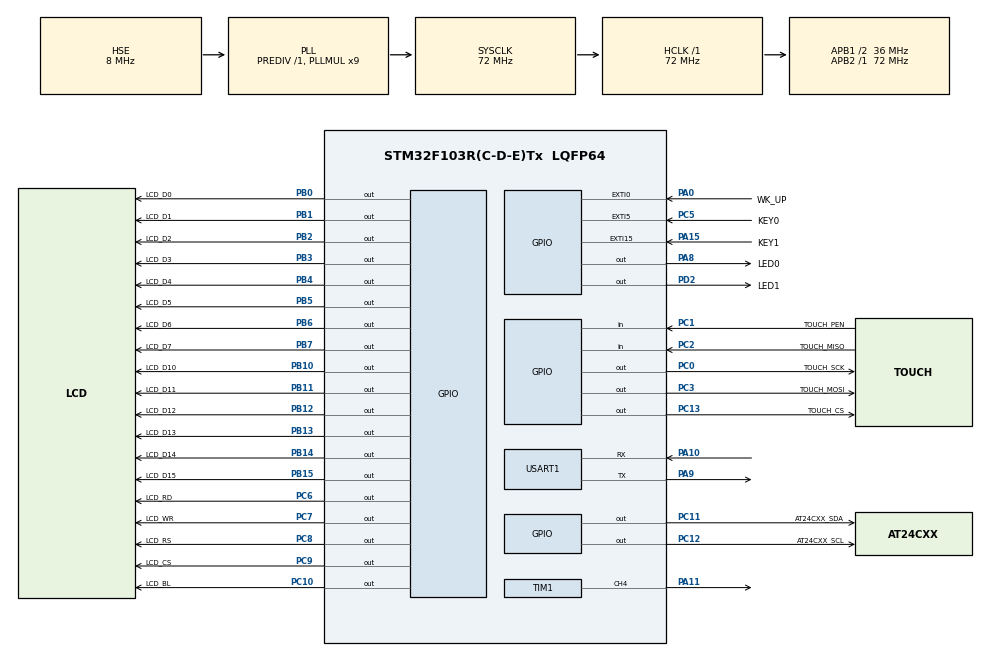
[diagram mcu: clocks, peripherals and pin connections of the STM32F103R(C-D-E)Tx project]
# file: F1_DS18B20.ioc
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Mcu.Family=STM32F1
Mcu.Name=STM32F103R(C-D-E)Tx
Mcu.Package=LQFP64
NVIC.EXTI0_IRQn=true\:2\:0\:true\:false\:true\:true\:true\:true
NVIC.EXTI15_10_IRQn=true\:2\:0\:true\:false\:true\:true\:true\:true
NVIC.EXTI9_5_IRQn=true\:2\:0\:true\:false\:true\:true\:true\:true
NVIC.PriorityGroup=NVIC_PRIORITYGROUP_4
NVIC.TIM2_IRQn=true\:0\:0\:false\:false\:true\:true\:true\:true
NVIC.TIM3_IRQn=true\:0\:0\:false\:false\:true\:true\:true\:true
PA0-WKUP.GPIO_Label=WK_UP
PA0-WKUP.GPIO_PuPd=GPIO_PULLDOWN
PA0-WKUP.Signal=GPXTI0
PA10.Mode=Asynchronous
PA10.Signal=USART1_RX
PA11.Signal=S_TIM1_CH4
PA13.Mode=Serial_Wire
PA13.Signal=SYS_JTMS-SWDIO
PA14.Mode=Serial_Wire
PA14.Signal=SYS_JTCK-SWCLK
PA15.GPIO_Label=KEY1
PA15.GPIO_ModeDefaultEXTI=GPIO_MODE_IT_FALLING
PA15.GPIO_PuPd=GPIO_PULLUP
PA15.Signal=GPXTI15
PA8.GPIO_Label=LED0
PA8.GPIO_ModeDefaultOutputPP=GPIO_MODE_OUTPUT_PP
PA8.GPIO_PuPd=GPIO_PULLUP
PA8.GPIO_Speed=GPIO_SPEED_FREQ_HIGH
PA8.PinState=GPIO_PIN_SET
PA8.Signal=GPIO_Output
PA9.Mode=Asynchronous
PA9.Signal=USART1_TX
PB0.GPIO_Label=LCD_D0
PB0.GPIO_ModeDefaultOutputPP=GPIO_MODE_OUTPUT_PP
PB0.GPIO_PuPd=GPIO_PULLUP
PB0.GPIO_Speed=GPIO_SPEED_FREQ_HIGH
PB0.Signal=GPIO_Output
PB1.GPIO_Label=LCD_D1
PB1.GPIO_ModeDefaultOutputPP=GPIO_MODE_OUTPUT_PP
PB1.GPIO_PuPd=GPIO_PULLUP
PB1.GPIO_Speed=GPIO_SPEED_FREQ_HIGH
PB1.Signal=GPIO_Output
PB10.GPIO_Label=LCD_D10
PB10.GPIO_ModeDefaultOutputPP=GPIO_MODE_OUTPUT_PP
PB10.GPIO_PuPd=GPIO_PULLUP
PB10.GPIO_Speed=GPIO_SPEED_FREQ_HIGH
PB10.Signal=GPIO_Output
PB11.GPIO_Label=LCD_D11
PB11.GPIO_ModeDefaultOutputPP=GPIO_MODE_OUTPUT_PP
PB11.GPIO_PuPd=GPIO_PULLUP
PB11.GPIO_Speed=GPIO_SPEED_FREQ_HIGH
PB11.Signal=GPIO_Output
PB12.GPIO_Label=LCD_D12
PB12.GPIO_ModeDefaultOutputPP=GPIO_MODE_OUTPUT_PP
PB12.GPIO_PuPd=GPIO_PULLUP
PB12.GPIO_Speed=GPIO_SPEED_FREQ_HIGH
PB12.Signal=GPIO_Output
PB13.GPIO_Label=LCD_D13
PB13.GPIO_ModeDefaultOutputPP=GPIO_MODE_OUTPUT_PP
PB13.GPIO_PuPd=GPIO_PULLUP
PB13.GPIO_Speed=GPIO_SPEED_FREQ_HIGH
PB13.Signal=GPIO_Output
PB14.GPIO_Label=LCD_D14
PB14.GPIO_ModeDefaultOutputPP=GPIO_MODE_OUTPUT_PP
PB14.GPIO_PuPd=GPIO_PULLUP
PB14.GPIO_Speed=GPIO_SPEED_FREQ_HIGH
PB14.Signal=GPIO_Output
PB15.GPIO_Label=LCD_D15
PB15.GPIO_ModeDefaultOutputPP=GPIO_MODE_OUTPUT_PP
PB15.GPIO_PuPd=GPIO_PULLUP
PB15.GPIO_Speed=GPIO_SPEED_FREQ_HIGH
PB15.Signal=GPIO_Output
PB2.GPIO_Label=LCD_D2
PB2.GPIO_ModeDefaultOutputPP=GPIO_MODE_OUTPUT_PP
PB2.GPIO_PuPd=GPIO_PULLUP
PB2.GPIO_Speed=GPIO_SPEED_FREQ_HIGH
PB2.Signal=GPIO_Output
PB3.GPIO_Label=LCD_D3
PB3.GPIO_ModeDefaultOutputPP=GPIO_MODE_OUTPUT_PP
PB3.GPIO_PuPd=GPIO_PULLUP
PB3.GPIO_Speed=GPIO_SPEED_FREQ_HIGH
PB3.Signal=GPIO_Output
PB4.GPIO_Label=LCD_D4
PB4.GPIO_ModeDefaultOutputPP=GPIO_MODE_OUTPUT_PP
PB4.GPIO_PuPd=GPIO_PULLUP
PB4.GPIO_Speed=GPIO_SPEED_FREQ_HIGH
PB4.Signal=GPIO_Output
PB5.GPIO_Label=LCD_D5
PB5.GPIO_ModeDefaultOutputPP=GPIO_MODE_OUTPUT_PP
PB5.GPIO_PuPd=GPIO_PULLUP
PB5.GPIO_Speed=GPIO_SPEED_FREQ_HIGH
PB5.Signal=GPIO_Output
PB6.GPIO_Label=LCD_D6
PB6.GPIO_ModeDefaultOutputPP=GPIO_MODE_OUTPUT_PP
PB6.GPIO_PuPd=GPIO_PULLUP
PB6.GPIO_Speed=GPIO_SPEED_FREQ_HIGH
PB6.Signal=GPIO_Output
PB7.GPIO_Label=LCD_D7
PB7.GPIO_ModeDefaultOutputPP=GPIO_MODE_OUTPUT_PP
PB7.GPIO_PuPd=GPIO_PULLUP
PB7.GPIO_Speed=GPIO_SPEED_FREQ_HIGH
PB7.Signal=GPIO_Output
PC0.GPIO_Label=TOUCH_SCK
PC0.GPIO_PuPd=GPIO_PULLUP
PC0.GPIO_Speed=GPIO_SPEED_FREQ_HIGH
PC0.PinState=GPIO_PIN_SET
PC0.Signal=GPIO_Output
PC1.GPIO_Label=TOUCH_PEN
PC1.GPIO_PuPd=GPIO_PULLUP
PC1.Signal=GPIO_Input
PC10.GPIO_Label=LCD_BL
PC10.GPIO_ModeDefaultOutputPP=GPIO_MODE_OUTPUT_PP
PC10.GPIO_PuPd=GPIO_PULLUP
PC10.GPIO_Speed=GPIO_SPEED_FREQ_HIGH
PC10.Signal=GPIO_Output
PC11.GPIO_Label=AT24CXX_SDA
PC11.Signal=GPIO_Output
PC12.GPIO_Label=AT24CXX_SCL
PC12.Signal=GPIO_Output
PC13-TAMPER-RTC.GPIO_Label=TOUCH_CS
PC13-TAMPER-RTC.GPIO_PuPd=GPIO_PULLDOWN
PC13-TAMPER-RTC.GPIO_Speed=GPIO_SPEED_FREQ_HIGH
PC13-TAMPER-RTC.PinState=GPIO_PIN_SET
PC13-TAMPER-RTC.Signal=GPIO_Output
PC14-OSC32_IN.Mode=LSE-External-Oscillator
PC14-OSC32_IN.Signal=RCC_OSC32_IN
PC15-OSC32_OUT.Mode=LSE-External-Oscillator
PC15-OSC32_OUT.Signal=RCC_OSC32_OUT
PC2.GPIO_Label=TOUCH_MISO
PC2.GPIO_PuPd=GPIO_PULLUP
PC2.Signal=GPIO_Input
PC3.GPIO_Label=TOUCH_MOSI
PC3.GPIO_PuPd=GPIO_PULLUP
PC3.GPIO_Speed=GPIO_SPEED_FREQ_HIGH
PC3.PinState=GPIO_PIN_SET
PC3.Signal=GPIO_Output
PC5.GPIO_Label=KEY0
PC5.GPIO_ModeDefaultEXTI=GPIO_MODE_IT_FALLING
PC5.GPIO_PuPd=GPIO_PULLUP
PC5.Signal=GPXTI5
PC6.GPIO_Label=LCD_RD
PC6.GPIO_ModeDefaultOutputPP=GPIO_MODE_OUTPUT_PP
PC6.GPIO_PuPd=GPIO_PULLUP
PC6.GPIO_Speed=GPIO_SPEED_FREQ_HIGH
PC6.Signal=GPIO_Output
PC7.GPIO_Label=LCD_WR
PC7.GPIO_ModeDefaultOutputPP=GPIO_MODE_OUTPUT_PP
PC7.GPIO_PuPd=GPIO_PULLUP
PC7.GPIO_Speed=GPIO_SPEED_FREQ_HIGH
PC7.Signal=GPIO_Output
PC8.GPIO_Label=LCD_RS
PC8.GPIO_ModeDefaultOutputPP=GPIO_MODE_OUTPUT_PP
PC8.GPIO_PuPd=GPIO_PULLUP
PC8.GPIO_Speed=GPIO_SPEED_FREQ_HIGH
PC8.Signal=GPIO_Output
PC9.GPIO_Label=LCD_CS
PC9.GPIO_ModeDefaultOutputPP=GPIO_MODE_OUTPUT_PP
PC9.GPIO_PuPd=GPIO_PULLUP
PC9.GPIO_Speed=GPIO_SPEED_FREQ_HIGH
PC9.Signal=GPIO_Output
PD0-OSC_IN.Mode=HSE-External-Oscillator
PD0-OSC_IN.Signal=RCC_OSC_IN
PD1-OSC_OUT.Mode=HSE-External-Oscillator
PD1-OSC_OUT.Signal=RCC_OSC_OUT
PD2.GPIO_Label=LED1
PD2.GPIO_ModeDefaultOutputPP=GPIO_MODE_OUTPUT_PP
PD2.GPIO_PuPd=GPIO_PULLUP
PD2.GPIO_Speed=GPIO_SPEED_FREQ_HIGH
PD2.PinState=GPIO_PIN_SET
PD2.Signal=GPIO_Output
ProjectManager.HeapSize=0x200
ProjectManager.StackSize=0x400
ProjectManager.TargetToolchain=MDK-ARM V5.32
RCC.AHBFreq_Value=72000000
RCC.APB1CLKDivider=RCC_HCLK_DIV2
RCC.APB1Freq_Value=36000000
RCC.APB1TimFreq_Value=72000000
RCC.APB2Freq_Value=72000000
RCC.APB2TimFreq_Value=72000000
RCC.HCLKFreq_Value=72000000
RCC.PLLMUL=RCC_PLL_MUL9
RCC.PLLSourceVirtual=RCC_PLLSOURCE_HSE
RCC.SYSCLKFreq_VALUE=72000000
RCC.SYSCLKSource=RCC_SYSCLKSOURCE_PLLCLK
RCC.USBFreq_Value=72000000
SH.S_TIM1_CH4.0=TIM1_CH4,PWM Generation4 CH4
TIM1.AutoReloadPreload=TIM_AUTORELOAD_PRELOAD_ENABLE
TIM1.Channel-PWM\ Generation4\ CH4=TIM_CHANNEL_4
TIM1.Period=2000-1
TIM1.Prescaler=72-1
TIM1.Pulse-PWM\ Generation4\ CH4=1000
TIM2.AutoReloadPreload=TIM_AUTORELOAD_PRELOAD_ENABLE
TIM2.Period=2000-1
TIM2.Prescaler=72-1
TIM3.AutoReloadPreload=TIM_AUTORELOAD_PRELOAD_ENABLE
TIM3.Prescaler=72-1
USART1.VirtualMode=VM_ASYNC
VP_TIM1_VS_ClockSourceINT.Mode=Internal
VP_TIM2_VS_ClockSourceINT.Mode=Internal
VP_TIM3_VS_ClockSourceINT.Mode=Internal
board=custom

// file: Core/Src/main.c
/* USER CODE BEGIN Header */
/**
  ******************************************************************************
  * @file           : main.c
  * @brief          : Main program body
  ******************************************************************************
  * @attention
  *
  * <h2><center>&copy; Copyright (c) 2021 STMicroelectronics.
  * All rights reserved.</center></h2>
  *
  * This software component is licensed by ST under BSD 3-Clause license,
  * the "License"; You may not use this file except in compliance with the
  * License. You may obtain a copy of the License at:
  *                        opensource.org/licenses/BSD-3-Clause
  *
  ******************************************************************************
  */
/* USER CODE END Header */
#include "main.h"
#include "tim.h"
#include "usart.h"
#include "gpio.h"

/* USER CODE BEGIN Includes */
#include "base.h"
#include "lcd.h"
#include "24cxx.h"
#include "touch.h"
#include "ds18b20.h"
#include "stdio.h"
#include "pid.h"
/* USER CODE END Includes */

/* USER CODE BEGIN PTD */
//重定义fputc函数
int fputc(int ch, FILE *f)
{
	while((USART1->SR&0X40)==0);//循环发送,直到发送完毕
    USART1->DR = (u8) ch;
	return ch;
}

#define xStart 30
#define yStart 230
/* USER CODE END PTD */

void SystemClock_Config(void);
/* USER CODE BEGIN PFP */
//清空屏幕并在右上角显??"RST"

/* USER CODE END PFP */

/* USER CODE BEGIN 0 */

double PIDOut, TempSetpoint;
short temperature;
u16 x=0,y=0;	//x是横坐标，描绘曲线，y为纵坐标，根据温度变化
u16 count=0;//计数值
char msg[100];
int ourPWM=0;
/* USER CODE END 0 */

int main(void)
{

  /* MCU Configuration--------------------------------------------------------*/

  /* Reset of all peripherals, Initializes the Flash interface and the Systick. */
  HAL_Init();

  /* Configure the system clock */
  SystemClock_Config();

  /* Initialize all configured peripherals */
  MX_GPIO_Init();
  MX_TIM1_Init();
  MX_USART1_UART_Init();
  MX_TIM2_Init();
  MX_TIM3_Init();
  /* USER CODE BEGIN 2 */
  delay_init(72);
  LCD_Init();
  LCD_Clear(WHITE);

  HAL_TIM_Base_Start_IT(&htim2);
	HAL_TIM_Base_Start_IT(&htim3);
  HAL_TIM_PWM_Start(&htim1,TIM_CHANNEL_4);

  TempSetpoint = 30.0;

  char buf[128];
  POINT_COLOR=BLACK;
  LCD_ShowString(30,250,200,16,16,"KEY0:Set Temper +0.1");
  LCD_ShowString(30,280,200,16,16,"KEY1:Set Temper -0.1");
  POINT_COLOR=RED;

	//没有DS18B20测试时注释
  while(DS18B20_Init())	//DS18B20初始化
  {
    LCD_ShowString(30,50,200,16,16,"DS18B20 ERROR");
  }
  LCD_ShowString(30,50,200,16,16,"						"); //初始化完成，遮盖ERROR

  /* USER CODE END 2 */

  /* Infinite loop */
  /* USER CODE BEGIN WHILE */
  while (1)
  {

	  POINT_COLOR=RED;
	//temperature=DS18B20_Get_Temp();
//		temperature=count;		//测试用

	ourPWM=(int)Limiting_amplitude(PID_Calculation(temperature/10,TempSetpoint));
//	__HAL_TIM_SET_COMPARE(&htim1,TIM_CHANNEL_4,Limiting_amplitude(PID_Calculation(temperature,TempSetpoint)));//调节pwm占空比和限制pid和pid运算
	__HAL_TIM_SET_COMPARE(&htim1,TIM_CHANNEL_4,ourPWM);//调节pwm占空比和限制pid和pid运算
	if(temperature<0)
	{
		LCD_ShowString(90,70,200,16,16,"-"); //显示负号
		temperature-=temperature; //转为正数
	}
	else
	{
		LCD_ShowString(90,70,200,16,16," "); //遮盖负号
	}

	LCD_ShowString(20,70,200,16,16,"Temper:");
	LCD_ShowString(20,90,200,16,16,"Set Temper:");

	sprintf(buf,"%3d",(int)temperature/10);
	LCD_ShowString(110,70,200,16,16,buf);	//显示整数

	LCD_ShowString(145,70,200,16,16,".");	//显示小数点
	sprintf(buf,"%1d",(int)(temperature-(temperature/10)*10));
	LCD_ShowString(155,70,200,16,16,buf);	//显示小数

	sprintf(buf,"%.1f",TempSetpoint);
	LCD_ShowString(130,90,200,16,16,buf);	//显示小数

	sprintf(buf,"%.1d",ourPWM);
	LCD_ShowString(130,50,200,16,16,buf);	//显示小数

	/************************曲线绘制***********************/

	LCD_DrawRectangle(xStart-1,yStart-100-1,xStart+180+1,yStart+1);//绘制矩形

	if(count==60)	{count=0;LCD_Fill(xStart,yStart-100,xStart+180,yStart,WHITE);}//局部清屏
			else{
				POINT_COLOR=BLACK;
				LCD_DrawLine(xStart+count*3,(yStart-(int)temperature/10),xStart+(count+1)*3,(yStart-(int)temperature/10));
			}
			count++;
    /* USER CODE END WHILE */

  }
}

void SystemClock_Config(void)
{
  RCC_OscInitTypeDef RCC_OscInitStruct = {0};
  RCC_ClkInitTypeDef RCC_ClkInitStruct = {0};

  /** Initializes the RCC Oscillators according to the specified parameters
  * in the RCC_OscInitTypeDef structure.
  */
  RCC_OscInitStruct.OscillatorType = RCC_OSCILLATORTYPE_HSE;
  RCC_OscInitStruct.HSEState = RCC_HSE_ON;
  RCC_OscInitStruct.HSEPredivValue = RCC_HSE_PREDIV_DIV1;
  RCC_OscInitStruct.HSIState = RCC_HSI_ON;
  RCC_OscInitStruct.PLL.PLLState = RCC_PLL_ON;
  RCC_OscInitStruct.PLL.PLLSource = RCC_PLLSOURCE_HSE;
  RCC_OscInitStruct.PLL.PLLMUL = RCC_PLL_MUL9;
  if (HAL_RCC_OscConfig(&RCC_OscInitStruct) != HAL_OK)
  {
    Error_Handler();
  }

  /** Initializes the CPU, AHB and APB buses clocks
  */
  RCC_ClkInitStruct.ClockType = RCC_CLOCKTYPE_HCLK|RCC_CLOCKTYPE_SYSCLK
                              |RCC_CLOCKTYPE_PCLK1|RCC_CLOCKTYPE_PCLK2;
  RCC_ClkInitStruct.SYSCLKSource = RCC_SYSCLKSOURCE_PLLCLK;
  RCC_ClkInitStruct.AHBCLKDivider = RCC_SYSCLK_DIV1;
  RCC_ClkInitStruct.APB1CLKDivider = RCC_HCLK_DIV2;
  RCC_ClkInitStruct.APB2CLKDivider = RCC_HCLK_DIV1;

  if (HAL_RCC_ClockConfig(&RCC_ClkInitStruct, FLASH_LATENCY_2) != HAL_OK)
  {
    Error_Handler();
  }
}

/* USER CODE BEGIN 4 */
//中断服务程序中需要做的事情
//在HAL库中所有的外部中断服务函数都会调用此函数
//GPIO_Pin:中断引脚号
void HAL_GPIO_EXTI_Callback(uint16_t GPIO_Pin)
{
    delay_ms(80);      	//消抖
    if(GPIO_Pin == KEY0_Pin)
	{
		LED0_T;
		LED1_T;
		TempSetpoint+=0.1;
	}
	else if(GPIO_Pin == KEY1_Pin)
	{
		LED0_T;
		TempSetpoint-=0.1;
	}
	else if(GPIO_Pin == WK_UP_Pin)
	{
		LED0_T;
	}
}

//回调函数，定时器中断服务函数调用
void HAL_TIM_PeriodElapsedCallback(TIM_HandleTypeDef *htim)
{
    if(htim==&htim3)
    {
			if(temperature<TempSetpoint*10)
			{
				temperature++;
			}
    }
}
/* USER CODE END 4 */

void Error_Handler(void)
{
  __disable_irq();
  while (1)
  {
  }
}
